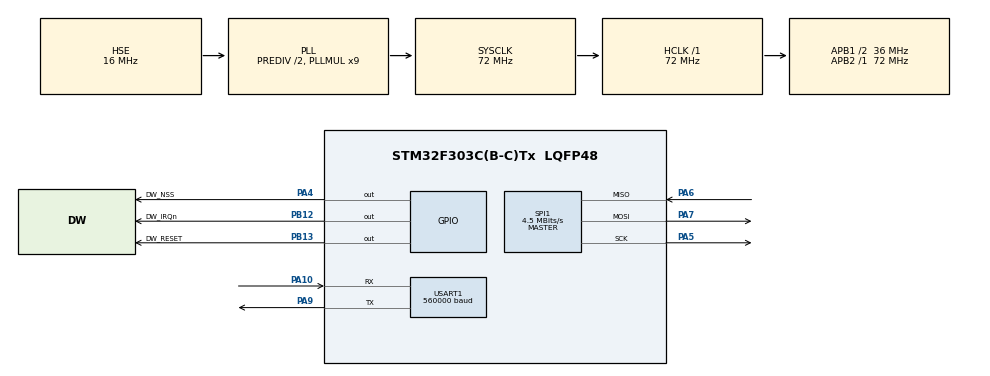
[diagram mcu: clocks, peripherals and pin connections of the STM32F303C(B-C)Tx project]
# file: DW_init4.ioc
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Dma.Request0=USART1_RX
Dma.USART1_RX.0.Direction=DMA_PERIPH_TO_MEMORY
Dma.USART1_RX.0.Instance=DMA1_Channel5
Dma.USART1_RX.0.MemDataAlignment=DMA_MDATAALIGN_BYTE
Dma.USART1_RX.0.MemInc=DMA_MINC_ENABLE
Dma.USART1_RX.0.Mode=DMA_NORMAL
Dma.USART1_RX.0.PeriphDataAlignment=DMA_PDATAALIGN_BYTE
Dma.USART1_RX.0.PeriphInc=DMA_PINC_DISABLE
Dma.USART1_RX.0.Priority=DMA_PRIORITY_LOW
Mcu.Family=STM32F3
Mcu.Name=STM32F303C(B-C)Tx
Mcu.Package=LQFP48
NVIC.DMA1_Channel5_IRQn=true\:0\:0\:false\:false\:true\:false\:true\:true
NVIC.PriorityGroup=NVIC_PRIORITYGROUP_4
NVIC.USART1_IRQn=true\:0\:0\:false\:false\:true\:true\:true\:true
PA10.Mode=Asynchronous
PA10.Signal=USART1_RX
PA13.Mode=Serial_Wire
PA13.Signal=SYS_JTMS-SWDIO
PA14.Mode=Serial_Wire
PA14.Signal=SYS_JTCK-SWCLK
PA4.GPIO_Label=DW_NSS
PA4.Signal=GPIO_Output
PA5.Mode=Full_Duplex_Master
PA5.Signal=SPI1_SCK
PA6.Mode=Full_Duplex_Master
PA6.Signal=SPI1_MISO
PA7.Mode=Full_Duplex_Master
PA7.Signal=SPI1_MOSI
PA9.Mode=Asynchronous
PA9.Signal=USART1_TX
PB12.GPIO_Label=DW_IRQn
PB12.Signal=GPIO_Output
PB13.GPIO_Label=DW_RESET
PB13.Signal=GPIO_Output
PF0-OSC_IN.Mode=HSE-External-Oscillator
PF0-OSC_IN.Signal=RCC_OSC_IN
PF1-OSC_OUT.Mode=HSE-External-Oscillator
PF1-OSC_OUT.Signal=RCC_OSC_OUT
ProjectManager.HeapSize=0x200
ProjectManager.StackSize=0x400
ProjectManager.TargetToolchain=Makefile
RCC.AHBFreq_Value=72000000
RCC.APB1CLKDivider=RCC_HCLK_DIV2
RCC.APB1Freq_Value=36000000
RCC.APB1TimFreq_Value=72000000
RCC.APB2Freq_Value=72000000
RCC.APB2TimFreq_Value=72000000
RCC.CortexFreq_Value=72000000
RCC.HCLKFreq_Value=72000000
RCC.HSE_VALUE=16000000
RCC.HSI_VALUE=8000000
RCC.LSE_VALUE=32768
RCC.PLLMUL=RCC_PLL_MUL9
RCC.PLLSourceVirtual=RCC_PLLSOURCE_HSE
RCC.RCC_PLLsource_Clock_Source_FROM_HSE=RCC_HSE_PREDIV_DIV2
RCC.SYSCLKFreq_VALUE=72000000
RCC.SYSCLKSourceVirtual=RCC_SYSCLKSOURCE_PLLCLK
RCC.USBFreq_Value=72000000
SPI1.BaudRatePrescaler=SPI_BAUDRATEPRESCALER_16
SPI1.CalculateBaudRate=4.5 MBits/s
SPI1.DataSize=SPI_DATASIZE_8BIT
SPI1.Direction=SPI_DIRECTION_2LINES
SPI1.Mode=SPI_MODE_MASTER
SPI1.VirtualType=VM_MASTER
TIM2.Period=65535
TIM2.Prescaler=71
USART1.BaudRate=560000
USART1.Mode=MODE_RX
USART1.VirtualMode-Asynchronous=VM_ASYNC
VP_TIM2_VS_ClockSourceINT.Mode=Internal
board=custom

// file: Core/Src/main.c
/* USER CODE BEGIN Header */
/**
  ******************************************************************************
  * @file           : main.c
  * @brief          : Main program body
  ******************************************************************************
  * @attention
  *
  * Copyright (c) 2025 STMicroelectronics.
  * All rights reserved.
  *
  * This software is licensed under terms that can be found in the LICENSE file
  * in the root directory of this software component.
  * If no LICENSE file comes with this software, it is provided AS-IS.
  *
  ******************************************************************************
  */
/* USER CODE END Header */
#include "main.h"
#include "dma.h"
#include "spi.h"
#include "tim.h"
#include "usart.h"
#include "gpio.h"

/* USER CODE BEGIN Includes */
#include "examples_defines.h"
#include "port.h"
#include "string.h"
/* USER CODE END Includes */

/* USER CODE BEGIN PTD */

#define STX 0x02
#define ETX 0x03
#define PAYLOAD_SIZE 24
#define HEADER_SIZE 3   // STX + LEN_HIGH + LEN_LOW
#define TAIL_SIZE   2   // CHECKSUM + ETX
#define PACKET_SIZE (HEADER_SIZE + PAYLOAD_SIZE + TAIL_SIZE)

uint8_t uart_rx_buffer[PACKET_SIZE];  // DMA reception buffer
float received_data[6];        // 6 floats = 24 bytes

/* USER CODE END PTD */

/* USER CODE BEGIN PV */
extern example_ptr example_pointer;

/* USER CODE END PV */

void SystemClock_Config(void);

int main(void)
{

  /* USER CODE BEGIN 1 */
  build_examples();

  /* USER CODE END 1 */

  /* MCU Configuration--------------------------------------------------------*/

  /* Reset of all peripherals, Initializes the Flash interface and the Systick. */
  HAL_Init();

  /* Configure the system clock */
  SystemClock_Config();

  /* Initialize all configured peripherals */
  MX_GPIO_Init();
  MX_DMA_Init();
  MX_SPI1_Init();
  MX_TIM2_Init();
  MX_USART1_UART_Init();
  /* USER CODE BEGIN 2 */
  //HAL_UART_Receive_IT(&huart1, &uart_current_byte, 1);
  port_DisableEXT_IRQ();
  example_pointer();
  /* USER CODE END 2 */

  /* Infinite loop */
  /* USER CODE BEGIN WHILE */
  while (1)
  {
    HAL_UART_Receive_DMA(&huart1, uart_rx_buffer, PACKET_SIZE);

    /* USER CODE END WHILE */

  }
}

void SystemClock_Config(void)
{
  RCC_OscInitTypeDef RCC_OscInitStruct = {0};
  RCC_ClkInitTypeDef RCC_ClkInitStruct = {0};
  RCC_PeriphCLKInitTypeDef PeriphClkInit = {0};

  /** Initializes the RCC Oscillators according to the specified parameters
  * in the RCC_OscInitTypeDef structure.
  */
  RCC_OscInitStruct.OscillatorType = RCC_OSCILLATORTYPE_HSE;
  RCC_OscInitStruct.HSEState = RCC_HSE_ON;
  RCC_OscInitStruct.HSEPredivValue = RCC_HSE_PREDIV_DIV2;
  RCC_OscInitStruct.HSIState = RCC_HSI_ON;
  RCC_OscInitStruct.PLL.PLLState = RCC_PLL_ON;
  RCC_OscInitStruct.PLL.PLLSource = RCC_PLLSOURCE_HSE;
  RCC_OscInitStruct.PLL.PLLMUL = RCC_PLL_MUL9;
  if (HAL_RCC_OscConfig(&RCC_OscInitStruct) != HAL_OK)
  {
    Error_Handler();
  }

  /** Initializes the CPU, AHB and APB buses clocks
  */
  RCC_ClkInitStruct.ClockType = RCC_CLOCKTYPE_HCLK|RCC_CLOCKTYPE_SYSCLK
                              |RCC_CLOCKTYPE_PCLK1|RCC_CLOCKTYPE_PCLK2;
  RCC_ClkInitStruct.SYSCLKSource = RCC_SYSCLKSOURCE_PLLCLK;
  RCC_ClkInitStruct.AHBCLKDivider = RCC_SYSCLK_DIV1;
  RCC_ClkInitStruct.APB1CLKDivider = RCC_HCLK_DIV2;
  RCC_ClkInitStruct.APB2CLKDivider = RCC_HCLK_DIV1;

  if (HAL_RCC_ClockConfig(&RCC_ClkInitStruct, FLASH_LATENCY_2) != HAL_OK)
  {
    Error_Handler();
  }
  PeriphClkInit.PeriphClockSelection = RCC_PERIPHCLK_USART1;
  PeriphClkInit.Usart1ClockSelection = RCC_USART1CLKSOURCE_PCLK2;
  if (HAL_RCCEx_PeriphCLKConfig(&PeriphClkInit) != HAL_OK)
  {
    Error_Handler();
  }
}

/* USER CODE BEGIN 4 */

/**
 * Calculates the checksum of a given data buffer.
 *
 * @param data The data buffer to calculate the checksum for.
 * @param len The length of the data buffer.
 *
 * @return The calculated checksum.
 */
uint8_t calculate_checksum(uint8_t *data, uint16_t len) {
  uint8_t sum = 0;
  for (uint16_t i = 0; i < len; i++) {
      sum += data[i];
  }
  return sum & 0xFF;
}

/**
 * @brief  UART Rx Transfer completed callback
 *
 * @param  huart pointer to a UART_HandleTypeDef structure that contains
 *                the configuration information for the specified UART module.
 * @retval None
 */
void HAL_UART_RxCpltCallback(UART_HandleTypeDef *huart)
{
  if (huart->Instance == USART1) {
      if (uart_rx_buffer[0] == STX && uart_rx_buffer[PACKET_SIZE - 1] == ETX) {
          uint16_t length = (uart_rx_buffer[1] << 8) | uart_rx_buffer[2];
          if (length == PAYLOAD_SIZE) {
              uint8_t checksum = uart_rx_buffer[PACKET_SIZE - 2];
              uint8_t calc_checksum = calculate_checksum(&uart_rx_buffer[3], PAYLOAD_SIZE);
              if (checksum == calc_checksum) {
                  memcpy(received_data, &uart_rx_buffer[3], PAYLOAD_SIZE);
              }
          }
      }

      // Restart DMA reception
      HAL_UART_Receive_DMA(&huart1, uart_rx_buffer, PACKET_SIZE);
  }
}

/* USER CODE END 4 */

void Error_Handler(void)
{
  __disable_irq();
  while (1)
  {
  }
}
